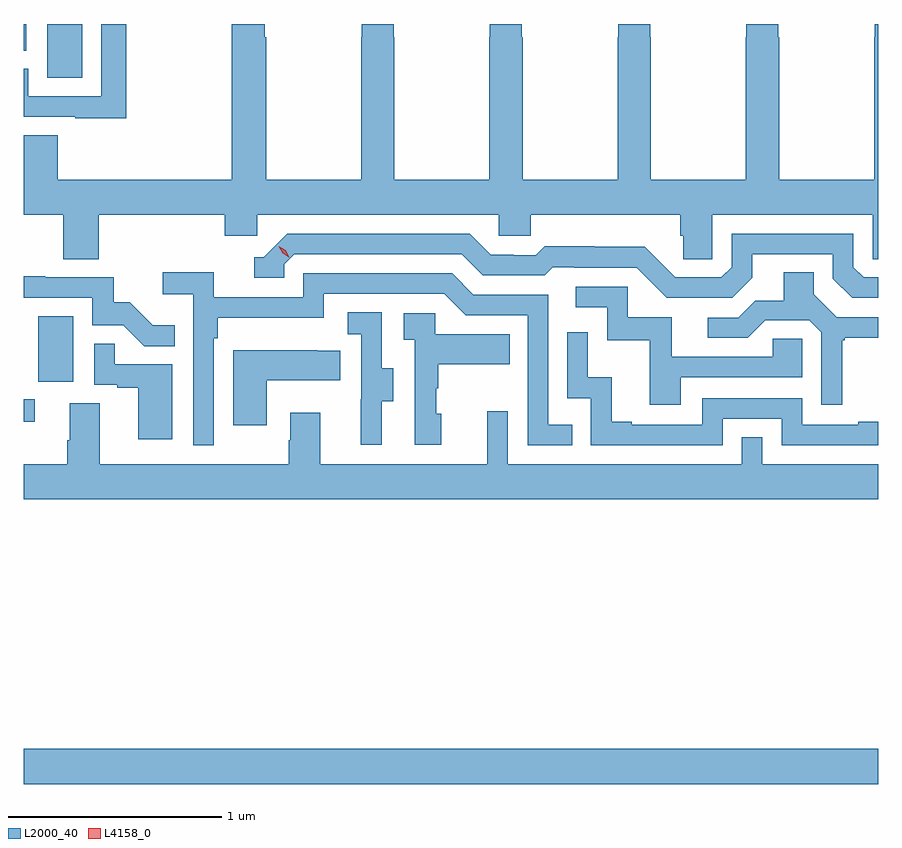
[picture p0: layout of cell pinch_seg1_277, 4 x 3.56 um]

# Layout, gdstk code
import gdstk
lib = gdstk.Library(unit=1e-6, precision=1e-09)
def R(c, l, rs):  # rectangles x0, y0, x1, y1
    for r in rs: c.add(gdstk.rectangle(r[:2], r[2:], *l))
def P(c, l, *ps):  # polygons
    for p in ps: c.add(gdstk.Polygon(p, *l))
L2000_40 = (2000, 40)
L4158_0 = (4158, 0)

pinch_seg1_277 = lib.new_cell('pinch_seg1_277')
R(pinch_seg1_277, L2000_40, [(898.073,554.396,902.073,554.56), (898.073,556.092,898.126,556.197), (898.142,556.278,898.306,556.585), (898.184,557.7,898.348,557.952), (898.073,557.827,898.086,557.952)])
P(pinch_seg1_277, L2000_40, [(902.046,556.852),(902.073,556.852),(902.073,557.952),(902.055,557.952),(902.055,557.891),(902.053,557.891),(902.053,557.224),(901.608,557.224),(901.608,557.891),(901.605,557.891),(901.605,557.952),(901.455,557.952),(901.455,557.891),(901.453,557.891),(901.453,557.224),(901.008,557.224),(901.008,557.891),(901.005,557.891),(901.005,557.952),(900.855,557.952),(900.855,557.891),(900.853,557.891),(900.853,557.224),(900.408,557.224),(900.408,557.891),(900.405,557.891),(900.405,557.952),(900.255,557.952),(900.255,557.891),(900.253,557.891),(900.253,557.224),(899.808,557.224),(899.808,557.891),(899.805,557.891),(899.805,557.952),(899.655,557.952),(899.655,557.891),(899.653,557.891),(899.653,557.224),(899.208,557.224),(899.208,557.891),(899.201,557.891),(899.201,557.952),(899.048,557.952),(899.048,557.224),(898.232,557.224),(898.232,557.432),(898.073,557.432),(898.073,557.06),(898.259,557.06),(898.259,556.852),(898.424,556.852),(898.424,557.06),(899.015,557.06),(899.015,556.962),(899.166,556.962),(899.166,557.06),(900.297,557.06),(900.297,556.962),(900.447,556.962),(900.447,557.06),(901.145,557.06),(901.145,556.962),(901.159,556.962),(901.159,556.852),(901.296,556.852),(901.296,557.06),(902.046,557.06)],
  [(898.553,557.952),(898.437,557.952),(898.437,557.613),(898.095,557.613),(898.095,557.742),(898.073,557.742),(898.073,557.517),(898.315,557.517),(898.315,557.512),(898.553,557.512)],
  [(901.483,556.765),(901.483,556.875),(901.86,556.875),(901.86,556.761),(901.95,556.671),(902.073,556.671),(902.073,556.767),(902.004,556.767),(901.956,556.815),(901.956,556.971),(901.386,556.971),(901.386,556.815),(901.338,556.767),(901.122,556.767),(900.98,556.909),(900.744,556.909),(900.744,556.912),(900.511,556.912),(900.469,556.869),(900.366,556.869),(900.366,556.872),(900.259,556.872),(900.16,556.971),(899.307,556.971),(899.196,556.86),(899.153,556.86),(899.153,556.764),(899.292,556.764),(899.292,556.827),(899.34,556.875),(900.123,556.875),(900.222,556.776),(900.511,556.776),(900.55,556.815),(900.649,556.815),(900.649,556.812),(900.942,556.812),(901.083,556.671),(901.389,556.671)],
  [(898.962,556.481),(898.982,556.481),(898.982,556.577),(899.478,556.577),(899.478,556.689),(900.042,556.689),(900.141,556.59),(900.432,556.59),(900.432,555.981),(900.641,555.981),(900.641,556.077),(900.528,556.077),(900.528,556.686),(900.178,556.686),(900.079,556.785),(899.382,556.785),(899.382,556.674),(898.964,556.674),(898.964,556.79),(898.725,556.79),(898.725,556.688),(898.866,556.688),(898.866,555.981),(898.962,555.981)],
  [(901.903,556.473),(901.915,556.473),(901.915,556.484),(902.073,556.484),(902.073,556.581),(901.878,556.581),(901.771,556.688),(901.771,556.79),(901.631,556.79),(901.631,556.658),(901.496,556.658),(901.416,556.578),(901.275,556.578),(901.275,556.485),(901.462,556.485),(901.543,556.566),(901.749,556.566),(901.806,556.509),(901.806,556.17),(901.903,556.17)],
  [(898.781,556.543),(898.677,556.543),(898.57,556.65),(898.494,556.65),(898.494,556.767),(898.175,556.767),(898.175,556.772),(898.073,556.772),(898.073,556.671),(898.395,556.671),(898.395,556.542),(898.539,556.542),(898.637,556.444),(898.781,556.444)],
  [(901.147,556.299),(901.716,556.299),(901.716,556.479),(901.579,556.479),(901.579,556.395),(901.105,556.395),(901.105,556.581),(900.9,556.581),(900.9,556.722),(900.657,556.722),(900.657,556.626),(900.804,556.626),(900.804,556.473),(901.003,556.473),(901.003,556.17),(901.147,556.17)],
  [(899.749,556.186),(899.803,556.186),(899.803,556.341),(899.748,556.341),(899.748,556.604),(899.589,556.604),(899.589,556.501),(899.652,556.501),(899.652,556.197),(899.651,556.197),(899.651,555.984),(899.749,555.984)],
  [(900.028,556.128),(900.003,556.128),(900.003,556.247),(900.013,556.247),(900.013,556.361),(900.347,556.361),(900.347,556.501),(900,556.501),(900,556.599),(899.853,556.599),(899.853,556.475),(899.904,556.475),(899.904,555.984),(900.028,555.984)],
  [(901.344,556.104),(901.62,556.104),(901.62,555.981),(902.073,555.981),(902.073,556.09),(901.979,556.09),(901.979,556.077),(901.716,556.077),(901.716,556.2),(901.248,556.2),(901.248,556.077),(900.919,556.077),(900.919,556.09),(900.824,556.09),(900.824,556.298),(900.714,556.298),(900.714,556.51),(900.618,556.51),(900.618,556.2),(900.726,556.2),(900.726,555.981),(901.344,555.981)],
  [(898.768,556.359),(898.499,556.359),(898.499,556.457),(898.404,556.457),(898.404,556.263),(898.511,556.263),(898.511,556.251),(898.61,556.251),(898.61,556.008),(898.768,556.008)],
  [(899.212,556.286),(899.555,556.286),(899.555,556.423),(899.447,556.423),(899.447,556.426),(899.054,556.426),(899.054,556.074),(899.212,556.074)],
  [(902.073,555.892),(901.53,555.892),(901.53,556.019),(901.434,556.019),(901.434,555.892),(900.339,555.892),(900.339,556.141),(900.242,556.141),(900.242,555.892),(899.461,555.892),(899.461,556.132),(899.321,556.132),(899.321,556.004),(899.314,556.004),(899.314,555.892),(898.429,555.892),(898.429,556.178),(898.289,556.178),(898.289,556.004),(898.277,556.004),(898.277,555.892),(898.073,555.892),(898.073,555.728),(902.073,555.728)])
P(pinch_seg1_277, L4158_0, [(899.315,556.861),(899.285,556.88),(899.268,556.912),(899.268,556.912),(899.268,556.912),(899.299,556.893),(899.316,556.861),(899.316,556.861)])

lib.write_gds('pinch_seg1_277.gds')
